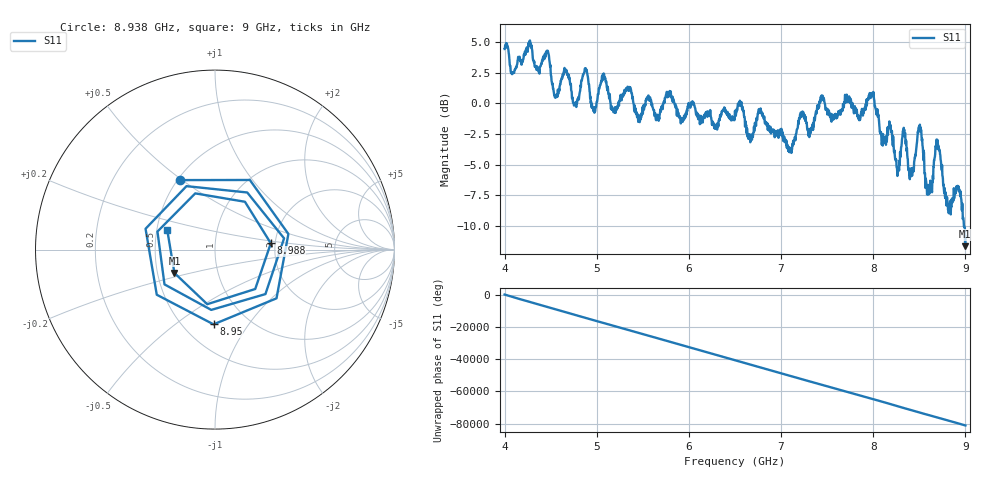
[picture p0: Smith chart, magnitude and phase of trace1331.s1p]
! Created with skrf 1.8.0 (http://scikit-rf.org).
# Hz S RI R 50.0
!freq ReS11 ImS11
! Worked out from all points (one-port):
!   1601 points, 4 GHz to 9 GHz, reference 50 ohm
!   lowest |S11| = -11.7 dB at 8.997 GHz (marker M1), VSWR 1.71, Z = 30.7 - j8.58 ohm
!   |S11| at or under -10 dB: 8.983688 GHz to end of sweep
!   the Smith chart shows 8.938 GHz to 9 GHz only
!   S11 on the Smith chart (normalised r, x): 8.938 GHz: 0.51, +0.49; 8.95 GHz: 0.69, -0.70; 8.988 GHz: 1.89, +0.15; 9 GHz: 0.57, +0.13
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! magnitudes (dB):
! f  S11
! 4 GHz  4.4
! 4.091 GHz  2.4
! 4.459 GHz  4.3
! 4.559 GHz  0.6
! 4.625 GHz  2.0
! 4.762 GHz  -0.1
! 4.875 GHz  2.7
! 4.966 GHz  -0.4
! 5.069 GHz  2.4
! 5.25 GHz  0.2
! 5.875 GHz  -0.5
! 6.5 GHz  -0.6
! 7.125 GHz  -3.5
! 7.441 GHz  0.6
! 7.75 GHz  0.0
! 7.988 GHz  0.8
! 8.112 GHz  -3.1
! 8.375 GHz  -4.5
! 8.416 GHz  -5.8
! 8.506 GHz  -1.7
! 8.591 GHz  -6.9
! 8.7 GHz  -3.3
! 8.816 GHz  -8.5
! 8.938 GHz  -7.3
! 8.95 GHz  -7.6
! 8.988 GHz  -10.1
! 8.997 GHz  -11.7
! 9 GHz  -10.9
